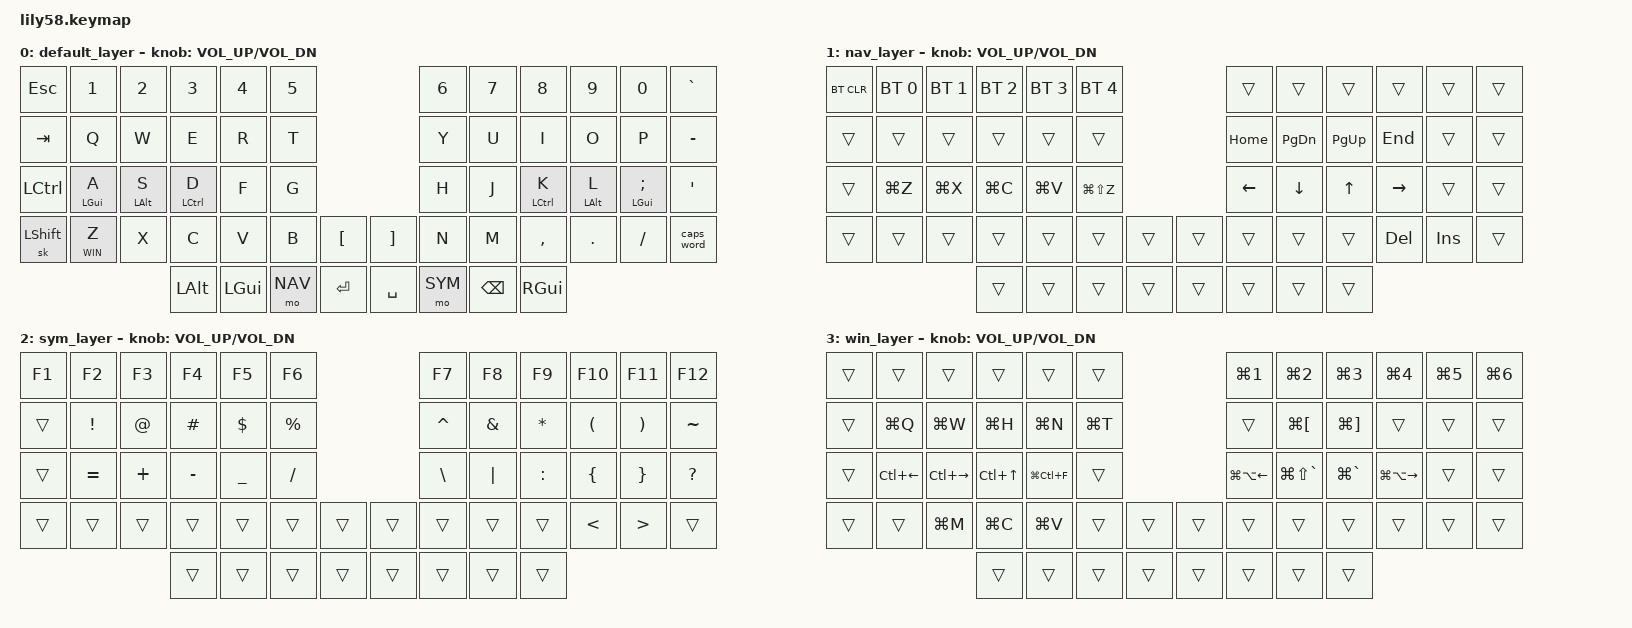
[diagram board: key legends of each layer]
/*
 * Coding-focused keymap for Lily58 (macOS, vim, ghostty).
 *
 * Layers:
 *   0 DEF — Base + home row mods (⌘ ⌥ ⌃) + Z hold = Window
 *   1 NAV — vim arrows on HJKL, nav cluster, Mac clipboard, BT
 *   2 SYM — symbols + F-keys + bracket cluster
 *   3 WIN — macOS window/tab management
 *
 * Combos (Base only): Q+W=() E+R={} U+I=[] O+P=<>
 *
 * SPDX-License-Identifier: MIT
 */

#include <behaviors.dtsi>
#include <dt-bindings/zmk/keys.h>
#include <dt-bindings/zmk/bt.h>
#include <dt-bindings/zmk/ext_power.h>

#define DEF 0
#define NAV 1
#define SYM 2
#define WIN 3

&soft_off {
    hold-time-ms = <3000>;
};

&soft_off {
    /delete-property/ split-peripheral-off-on-press;
};

&mt {
    flavor = "tap-preferred";
    tapping-term-ms = <200>;
    quick-tap-ms = <125>;
};

&lt {
    flavor = "hold-preferred";
    tapping-term-ms = <200>;
};

/ {
    macros {
        ap_paren: ap_paren {
            label = "ZM_ap_paren";
            compatible = "zmk,behavior-macro";
            #binding-cells = <0>;
            bindings = <&kp LPAR &kp RPAR &kp LEFT>;
        };
        ap_brace: ap_brace {
            label = "ZM_ap_brace";
            compatible = "zmk,behavior-macro";
            #binding-cells = <0>;
            bindings = <&kp LBRC &kp RBRC &kp LEFT>;
        };
        ap_brkt: ap_brkt {
            label = "ZM_ap_brkt";
            compatible = "zmk,behavior-macro";
            #binding-cells = <0>;
            bindings = <&kp LBKT &kp RBKT &kp LEFT>;
        };
        ap_angle: ap_angle {
            label = "ZM_ap_angle";
            compatible = "zmk,behavior-macro";
            #binding-cells = <0>;
            bindings = <&kp LT &kp GT &kp LEFT>;
        };
    };

    combos {
        compatible = "zmk,combos";

        combo_paren {
            timeout-ms = <50>;
            key-positions = <13 14>;   // Q + W
            bindings = <&ap_paren>;
            layers = <DEF>;
        };
        combo_brace {
            timeout-ms = <50>;
            key-positions = <15 16>;   // E + R
            bindings = <&ap_brace>;
            layers = <DEF>;
        };
        combo_brkt {
            timeout-ms = <50>;
            key-positions = <19 20>;   // U + I
            bindings = <&ap_brkt>;
            layers = <DEF>;
        };
        combo_angle {
            timeout-ms = <50>;
            key-positions = <21 22>;   // O + P
            bindings = <&ap_angle>;
            layers = <DEF>;
        };
    };

    keymap {
        compatible = "zmk,keymap";

        default_layer {
// |  ESC  |  1   |  2   |  3   |  4   |  5   |              |  6   |  7   |  8   |  9   |  0   |  `   |
// |  TAB  |  Q   |  W   |  E   |  R   |  T   |              |  Y   |  U   |  I   |  O   |  P   |  -   |
// |  CTRL | A/⌘  | S/⌥  | D/⌃  |  F   |  G   |              |  H   |  J   | K/⌃  | L/⌥  | ;/⌘  |  '   |
// | SK⇧   | Z/WIN|  X   |  C   |  V   |  B   | [ |    | ]   |  N   |  M   |  ,   |  .   |  /   |CAPSWD|
//                       | ALT  | GUI  | NAV  |RET|    |SPC  | SYM  | BSP  | RGUI |
//
// Bottom-left outer: sticky shift (tap = next key shifted, auto-releases).
// Bottom-right outer: caps_word (tap = capitalize the next word until space/punct).
            bindings = <
&kp ESC    &kp N1       &kp N2       &kp N3       &kp N4   &kp N5                            &kp N6   &kp N7   &kp N8       &kp N9       &kp N0          &kp GRAVE
&kp TAB    &kp Q        &kp W        &kp E        &kp R    &kp T                             &kp Y    &kp U    &kp I        &kp O        &kp P           &kp MINUS
&kp LCTRL  &mt LGUI A   &mt LALT S   &mt LCTRL D  &kp F    &kp G                             &kp H    &kp J    &mt LCTRL K  &mt LALT L   &mt LGUI SEMI   &kp SQT
&sk LSHFT  &lt WIN Z    &kp X        &kp C        &kp V    &kp B   &kp LBKT       &kp RBKT   &kp N    &kp M    &kp COMMA    &kp DOT      &kp FSLH        &caps_word
                                     &kp LALT     &kp LGUI &mo NAV &kp RET        &kp SPACE  &mo SYM  &kp BSPC &kp RGUI
            >;

            sensor-bindings = <&inc_dec_kp C_VOL_UP C_VOL_DN>;
        };

        nav_layer {
// | BTCLR | BT1  | BT2  | BT3  | BT4  | BT5  |              |      |      |      |      |      |      |
// |       |      |      |      |      |      |              | HOME | PGDN | PGUP | END  |      |      |
// |       | UNDO | CUT  | COPY | PASTE| REDO |              | LEFT | DOWN |  UP  |RIGHT |      |      |
// |       |      |      |      |      |      |   |    |    |      |      |      | DEL  | INS  |      |
            bindings = <
&bt BT_CLR &bt BT_SEL 0 &bt BT_SEL 1 &bt BT_SEL 2 &bt BT_SEL 3 &bt BT_SEL 4                  &trans   &trans    &trans    &trans     &trans  &trans
&trans     &trans       &trans       &trans       &trans       &trans                        &kp HOME &kp PG_DN &kp PG_UP &kp END    &trans  &trans
&trans     &kp LG(Z)    &kp LG(X)    &kp LG(C)    &kp LG(V)    &kp LG(LS(Z))                 &kp LEFT &kp DOWN  &kp UP    &kp RIGHT  &trans  &trans
&trans     &trans       &trans       &trans       &trans       &trans       &trans  &trans   &trans   &trans    &trans    &kp DEL    &kp INS &trans
                                     &trans       &trans       &trans       &trans  &trans   &trans   &trans    &trans
            >;

            sensor-bindings = <&inc_dec_kp C_VOL_UP C_VOL_DN>;
        };

        sym_layer {
// |  F1  |  F2  |  F3  |  F4  |  F5  |  F6  |              |  F7  |  F8  |  F9  | F10  | F11  | F12  |
// |      |  !   |  @   |  #   |  $   |  %   |              |  ^   |  &   |  *   |  (   |  )   |  ~   |
// |      |  =   |  +   |  -   |  _   |  /   |              |  \   |  |   |  :   |  {   |  }   |  ?   |
// |      |      |      |      |      |      |   |    |    |      |      |      |  <   |  >   |      |
            bindings = <
&kp F1    &kp F2     &kp F3      &kp F4      &kp F5      &kp F6                              &kp F7    &kp F8    &kp F9     &kp F10  &kp F11  &kp F12
&trans    &kp EXCL   &kp AT      &kp HASH    &kp DLLR    &kp PRCNT                           &kp CARET &kp AMPS  &kp ASTRK  &kp LPAR &kp RPAR &kp TILDE
&trans    &kp EQUAL  &kp PLUS    &kp MINUS   &kp UNDER   &kp FSLH                            &kp BSLH  &kp PIPE  &kp COLON  &kp LBRC &kp RBRC &kp QMARK
&trans    &trans     &trans      &trans      &trans      &trans     &trans       &trans      &trans    &trans    &trans     &kp LT   &kp GT   &trans
                                 &trans      &trans      &trans     &trans       &trans      &trans    &trans    &trans
            >;

            sensor-bindings = <&inc_dec_kp C_VOL_UP C_VOL_DN>;
        };

        win_layer {
// |      |      |      |      |      |      |              |  ⌘1  |  ⌘2  |  ⌘3  |  ⌘4  |  ⌘5  |  ⌘6  |
// |      |  ⌘Q  |  ⌘W  |  ⌘H  |  ⌘N  |  ⌘T  |              |      |  ⌘[  |  ⌘]  |      |      |      |
// |      |  ⌃←  |  ⌃→  |  ⌃↑  | ⌃⌘F  |      |              | ⌘⌥←  | ⌘⇧`  |  ⌘`  | ⌘⌥→  |      |      |
// | ████ |      |  ⌘M  |  ⌘C  |  ⌘V  |      |   |    |    |      |      |      |      |      |      |
            bindings = <
&trans    &trans         &trans         &trans         &trans          &trans                              &kp LG(N1)        &kp LG(N2)        &kp LG(N3)        &kp LG(N4)         &kp LG(N5) &kp LG(N6)
&trans    &kp LG(Q)      &kp LG(W)      &kp LG(H)      &kp LG(N)       &kp LG(T)                           &trans            &kp LG(LBKT)      &kp LG(RBKT)      &trans             &trans     &trans
&trans    &kp LC(LEFT)   &kp LC(RIGHT)  &kp LC(UP)     &kp LG(LC(F))   &trans                              &kp LG(LA(LEFT))  &kp LG(LS(GRAVE)) &kp LG(GRAVE)     &kp LG(LA(RIGHT))  &trans     &trans
&trans    &trans         &kp LG(M)      &kp LG(C)      &kp LG(V)       &trans     &trans       &trans      &trans            &trans            &trans         &trans             &trans     &trans
                                        &trans         &trans          &trans     &trans       &trans      &trans            &trans            &trans
            >;

            sensor-bindings = <&inc_dec_kp C_VOL_UP C_VOL_DN>;
        };
    };
};
